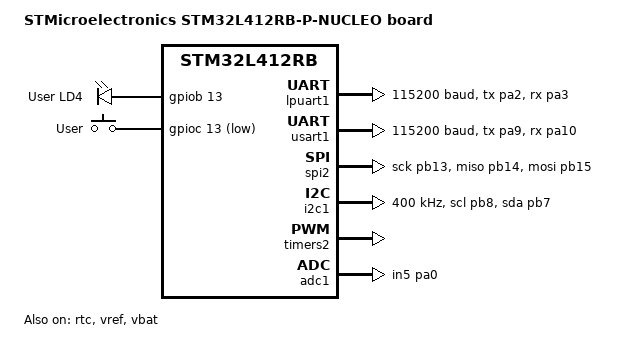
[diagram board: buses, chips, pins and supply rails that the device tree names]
/*
 * Copyright (c) 2021 Guðni Már Gilbert
 *
 * SPDX-License-Identifier: Apache-2.0
 */

/dts-v1/;
#include <st/l4/stm32l412XB.dtsi>
#include <st/l4/stm32l412rbtx-pinctrl.dtsi>
#include "arduino_r3_connector.dtsi"
#include <zephyr/dt-bindings/input/input-event-codes.h>

/ {
	model = "STMicroelectronics STM32L412RB-P-NUCLEO board";
	compatible = "st,stm32l412rb-p-nucleo";

	chosen {
		zephyr,console = &lpuart1;
		zephyr,shell-uart = &lpuart1;
		zephyr,sram = &sram0;
		zephyr,flash = &flash0;
	};

	leds: leds {
		compatible = "gpio-leds";
		green_led: led_0 {
			gpios = <&gpiob 13 GPIO_ACTIVE_HIGH>;
			label = "User LD4";
		};
	};

	gpio_keys {
		compatible = "gpio-keys";
		user_button: button {
			label = "User";
			gpios = <&gpioc 13 GPIO_ACTIVE_LOW>;
			zephyr,code = <INPUT_KEY_0>;
		};
	};

	aliases {
		led0 = &green_led;
		sw0 = &user_button;
		volt-sensor0 = &vref;
		volt-sensor1 = &vbat;
	};
};

&clk_lsi {
	status = "okay";
};

&clk_hsi {
	status = "okay";
};

&pll {
	div-m = <1>;
	mul-n = <10>;
	div-q = <2>;
	div-r = <2>;
	clocks = <&clk_hsi>;
	status = "okay";
};

&rcc {
	clocks = <&pll>;
	clock-frequency = <DT_FREQ_M(80)>;
	ahb-prescaler = <1>;
	apb1-prescaler = <1>;
	apb2-prescaler = <1>;
};

&lpuart1 {
	pinctrl-0 = <&lpuart1_tx_pa2 &lpuart1_rx_pa3>;
	pinctrl-names = "default";
	current-speed = <115200>;
	status = "okay";
};

&usart1 {
	pinctrl-0 = <&usart1_tx_pa9 &usart1_rx_pa10>;
	pinctrl-names = "default";
	current-speed = <115200>;
};

&spi2 {
	pinctrl-0 = <&spi2_sck_pb13 &spi2_miso_pb14 &spi2_mosi_pb15>;
	pinctrl-names = "default";
	cs-gpios = <&gpioa 11 (GPIO_ACTIVE_LOW | GPIO_PULL_UP)>;
	status = "okay";
};

&i2c1 {
	pinctrl-0 = <&i2c1_scl_pb8 &i2c1_sda_pb7>;
	pinctrl-names = "default";
	clock-frequency = <I2C_BITRATE_FAST>;
	status = "okay";
};

&timers2 {
	status = "okay";

	pwm2: pwm {
		status = "okay";
		pinctrl-0 = <&tim2_ch1_pa0>;
		pinctrl-names = "default";
	};
};

&rtc {
	clocks = <&rcc STM32_CLOCK_BUS_APB1 0x10000000>,
		 <&rcc STM32_SRC_LSI RTC_SEL(2)>;
	status = "okay";
};

&adc1 {
	pinctrl-0 = <&adc1_in5_pa0>;
	pinctrl-names = "default";
	st,adc-clock-source = "SYNC";
	st,adc-prescaler = <4>;
	status = "okay";
};

&flash0 {
	partitions {
		compatible = "fixed-partitions";
		#address-cells = <1>;
		#size-cells = <1>;

		/*
		 * Reserve the final 16 KiB for file system partition
		 * 128 KiB --> 131702 bytes
		 * 16 KiB  --> 16384 bytes
		 * Start Addr = 131702 - 16384 --> (HEX) 0x0001c276
		 * Size = 16384 --> (HEX) 0x00004000
		 */
		storage_partition: partition@1c276 {
			label = "storage";
			reg = <0x0001c276 DT_SIZE_K(16)>;
		};
	};
};

&vref {
	status = "okay";
};

&vbat {
	status = "okay";
};
